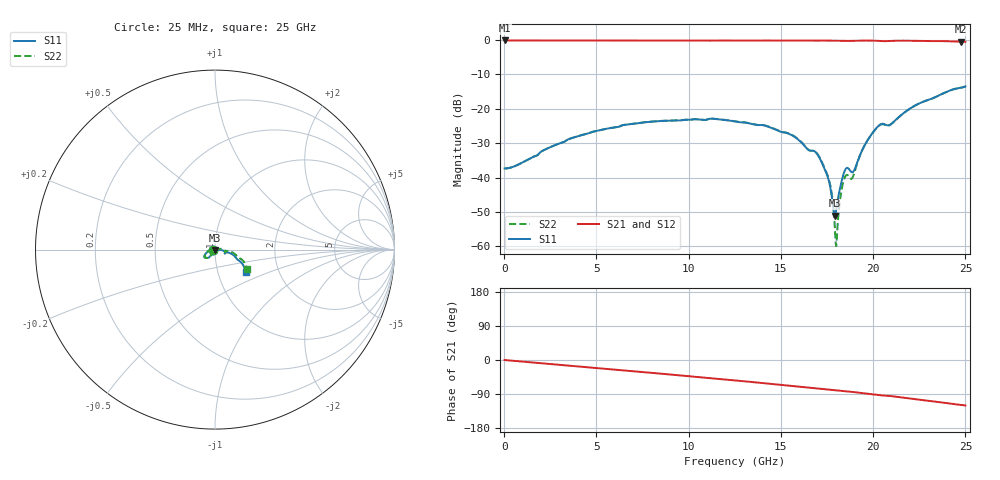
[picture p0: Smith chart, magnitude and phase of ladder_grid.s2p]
! RG_s4_pwr_n4: kisi's ladder with the plane pair as a finite cavity (grid) (Finite board 24 × 16 mm, via L1 → L4 through the GND/PWR pair L2/L3, four GND vias at 1 mm joined to L2 only (openings in the PWR plane L3))
# Hz S RI R 50
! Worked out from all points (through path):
!   1000 points, 25 MHz to 25 GHz, reference 50 ohm
!   highest |S21| = -0.12 dB at 25 MHz (marker M1); lowest = -0.5 dB at 24.77 GHz (marker M2)
!   group delay of S21, straight-line fit = 13 ps
!   lowest |S11| = -51.1 dB at 17.93 GHz (marker M3), VSWR 1.01, Z = 49.9 - j0.271 ohm
!   |S11| at or under -10 dB: start of sweep to end of sweep
!   |S22| runs from -60.0 to -13.5 dB; largest |S21 - S12| = 0
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2.5e7  -0.0135 -0.000219  0.9865 -0.00181  0.9865 -0.00181  -0.0135 -0.00022
4.2e9  -0.0243 -0.0335  0.9391 -0.2996  0.9391 -0.2996  -0.0242 -0.0337
8.35e9  -0.0471 -0.0463  0.8022 -0.5709  0.8022 -0.5709  -0.0471 -0.0466
1.2525e10  -0.0572 -0.0315  0.5796 -0.7954  0.5796 -0.7954  -0.0577 -0.0314
1.5425e10  -0.0412 -0.0135  0.3783 -0.9072  0.3783 -0.9072  -0.042 -0.0121
1.6675e10  -0.0229 -0.00897  0.2768 -0.9389  0.2768 -0.9389  -0.0237 -0.00635
1.705e10  -0.0197 -0.00484  0.249 -0.9501  0.249 -0.9501  -0.0206 -0.00198
1.755e10  -0.00958 -0.00286  0.2053 -0.9601  0.2053 -0.9601  -0.0104 0.000629
1.775e10  -0.00499 -0.00217  0.1871 -0.9637  0.1871 -0.9637  -0.0058 0.0016
1.7925e10  -0.000608 -0.00272  0.1708 -0.9654  0.1708 -0.9654  -0.00133 0.00132
1.8e10  0.00109 -0.00324  0.1641 -0.9657  0.1641 -0.9657  0.000422 0.00091
1.805e10  0.00212 -0.00361  0.1596 -0.9659  0.1596 -0.9659  0.0015 0.0006
1.8275e10  0.00663 -0.00528  0.14 -0.9666  0.14 -0.9666  0.00617 -0.000784
1.85e10  0.00988 -0.00871  0.1217 -0.9649  0.1217 -0.9649  0.00969 -0.00401
1.895e10  0.0113 -0.0052  0.0917 -0.9729  0.0917 -0.9729  0.011 -0.000376
1.945e10  0.0264 -0.00145  0.0428 -0.9812  0.0428 -0.9812  0.0261 0.00434
2.01e10  0.0489 -0.00743  -0.0246 -0.978  -0.0246 -0.978  0.0492 -0.000196
2.045e10  0.0572 -0.0188  -0.0567 -0.9656  -0.0567 -0.9656  0.0584 -0.011
2.085e10  0.0544 -0.0193  -0.0775 -0.9651  -0.0775 -0.9651  0.0557 -0.0117
2.2325e10  0.1078 -0.0357  -0.2312 -0.9458  -0.2312 -0.9458  0.1107 -0.0245
2.4775e10  0.1655 -0.1178  -0.4506 -0.83  -0.4506 -0.83  0.1751 -0.1023
2.5e10  0.1706 -0.1248  -0.4703 -0.8195  -0.4703 -0.8195  0.1808 -0.1089
